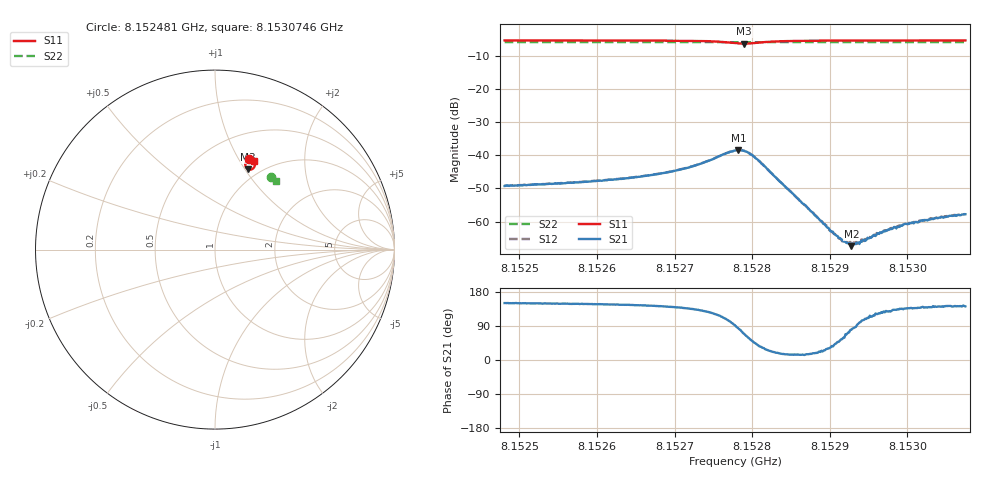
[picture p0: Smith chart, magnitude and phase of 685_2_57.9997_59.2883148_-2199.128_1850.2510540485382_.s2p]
#  HZ  S  RI  R  50.00
! Rohde & Schwarz Vector Network Analyzer
! Rohde-Schwarz,ZNB20-2Port,1311601062101988,3.16
! Created: UTC 3/21/2024, 1:21:01 AM
! freq[Hz]  re:S11  im:S11  re:S21  im:S21  re:S12  im:S12  re:S22  im:S22
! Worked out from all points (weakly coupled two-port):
!   401 points, 8.152481 GHz to 8.1530746 GHz, reference 50 ohm
!   highest |S21| = -38.35 dB at 8.1527822 GHz (marker M1); lowest = -67.4 dB at 8.1529277 GHz (marker M2)
!   lowest |S11| = -6.3 dB at 8.1527896 GHz (marker M3), VSWR 2.88, Z = 44.2 + j51.7 ohm
!   |S11| at or under -10 dB: nowhere
!   |S22| runs from -5.9 to -5.8 dB; largest |S21 - S12| = 0.00038
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8.15248097e9  0.1899 0.5061  -0.00299 0.00171  -0.00298 0.00176  0.3102 0.4063
8.1525804e9  0.1987 0.5026  -0.00336 0.00208  -0.00334 0.00213  0.3152 0.4023
8.15263382e9  0.2042 0.4998  -0.00367 0.0025  -0.0037 0.00256  0.3179 0.4
8.15267983e9  0.2102 0.4959  -0.00416 0.00323  -0.00414 0.00329  0.3203 0.3981
8.15270061e9  0.2136 0.4928  -0.00444 0.00382  -0.00445 0.00389  0.3212 0.397
8.15272732e9  0.2185 0.486  -0.00481 0.00515  -0.00479 0.00523  0.3226 0.3956
8.15275997e9  0.221 0.466  -0.00412 0.0091  -0.00401 0.00929  0.3239 0.3936
8.15277778e9  0.2063 0.4482  -0.000327 0.0118  -5.79e-05 0.0119  0.3238 0.3925
8.15278223e9  0.1985 0.4459  0.00146 0.012  0.00159 0.0119  0.3238 0.3924
8.15278965e9  0.1845 0.448  0.00418 0.0109  0.00435 0.0108  0.3236 0.3924
8.15280004e9  0.1711 0.4612  0.00647 0.00775  0.00657 0.00757  0.3239 0.3926
8.15281043e9  0.1688 0.4761  0.00641 0.00455  0.00648 0.00458  0.3245 0.3928
8.15287721e9  0.1938 0.4992  0.00133 0.000405  0.00133 0.000393  0.3287 0.3906
8.15289947e9  0.1985 0.4996  0.000646 0.000391  0.000631 0.000388  0.33 0.3897
8.15291728e9  0.2015 0.4993  0.000263 0.000433  0.000284 0.000426  0.331 0.3889
8.15292767e9  0.2031 0.499  7.51e-05 0.00042  8.18e-05 0.000434  0.3314 0.3883
8.15293509e9  0.2041 0.499  -2.51e-05 0.000481  1.9e-05 0.000467  0.3319 0.3881
8.15297664e9  0.209 0.498  -0.000477 0.000588  -0.000489 0.000598  0.3339 0.3864
8.15299742e9  0.2112 0.4971  -0.000669 0.000644  -0.000643 0.000643  0.335 0.3853
8.15301968e9  0.2135 0.4967  -0.000792 0.000658  -0.000785 0.000705  0.3358 0.3843
8.15304639e9  0.2157 0.4959  -0.00089 0.000736  -0.000896 0.00073  0.3372 0.3834
8.15307459e9  0.2182 0.495  -0.00101 0.000806  -0.00104 0.000776  0.3386 0.3822
